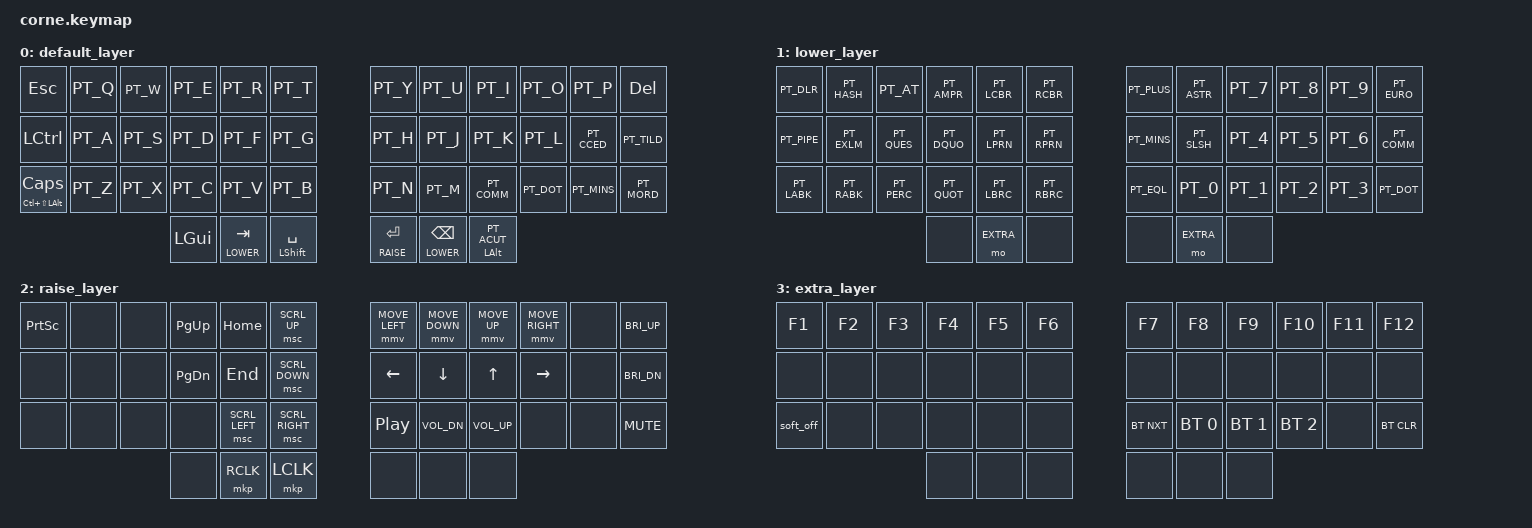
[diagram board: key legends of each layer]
#define ZMK_MOUSE_DEFAULT_MOVE_VAL 700
#define ZMK_MOUSE_DEFAULT_SCRL_VAL 13

#include <behaviors.dtsi>
#include <behaviors/mouse_keys.dtsi>
#include <dt-bindings/zmk/keys.h>
#include <dt-bindings/zmk/bt.h>
#include <dt-bindings/zmk/mouse.h>
#include "keymap_pt.h"

#define DEFAULT 0
#define LOWER   1
#define RAISE   2
#define EXTRA   3

#define xxx &none
#define ___ &trans

#define MEH LC(LS(LALT))

/ {
        keymap {
                compatible = "zmk,keymap";

                default_layer {
// ----------------------------------------------------------------------------------------------------------------------------------------------------------------------------------------------------------
// |    ESC     |       Q       |       W       |       E       |       R       |       T       |       |       Y       |       U       |       I       |       O       |       P       |      DEL      |
// |    CTRL    |       A       |       S       |       D       |       F       |       G       |       |       H       |       J       |       K       |       L       |       ;       |       '       |
// |    MEH     |       Z       |       X       |       C       |       V       |       B       |       |       N       |       M       |       ,       |       .       |       /       |       º       |
//
//                                              |      GUI      |      TAB      |      SPC      |       |      ENT      |      BSPC     |      ALT      |
                        bindings = <
   &kp ESC      &kp PT_Q        &kp PT_W        &kp PT_E        &kp PT_R        &kp PT_T                &kp PT_Y        &kp PT_U        &kp PT_I        &kp PT_O        &kp PT_P        &kp DEL
   &kp LCTRL    &kp PT_A        &kp PT_S        &kp PT_D        &kp PT_F        &kp PT_G                &kp PT_H        &kp PT_J        &kp PT_K        &kp PT_L        &kp PT_CCED     &kp PT_TILD
   &mt MEH CAPS &kp PT_Z        &kp PT_X        &kp PT_C        &kp PT_V        &kp PT_B                &kp PT_N        &kp PT_M        &kp PT_COMM     &kp PT_DOT      &kp PT_MINS     &kp PT_MORD
                                                &kp LGUI        &lt LOWER TAB   &mt LSHIFT SPACE        &lt RAISE ENTER &lt LOWER BSPC  &mt LALT PT_ACUT
                        >;
                };

                lower_layer {
// ----------------------------------------------------------------------------------------------------------------------------------------------------------------------------------------------------------
// |     $      |       #       |       @       |       &       |       {       |       }       |       |       +       |       *       |       7       |       8       |       9       |       €       |
// |     |      |       !       |       ?       |       "       |       (       |       )       |       |       -       |       /       |       4       |       5       |       6       |       ,       |
// |     <      |       >       |       %       |       '       |       [       |       ]       |       |       =       |       0       |       1       |       2       |       3       |       .       |
//
//                                              |               |               |               |       |               |               |               |
                        bindings = <
   &kp PT_DLR   &kp PT_HASH     &kp PT_AT       &kp PT_AMPR     &kp PT_LCBR     &kp PT_RCBR             &kp PT_PLUS     &kp PT_ASTR     &kp PT_7        &kp PT_8        &kp PT_9        &kp PT_EURO
   &kp PT_PIPE  &kp PT_EXLM     &kp PT_QUES     &kp PT_DQUO     &kp PT_LPRN     &kp PT_RPRN             &kp PT_MINS     &kp PT_SLSH     &kp PT_4        &kp PT_5        &kp PT_6        &kp PT_COMM
   &kp PT_LABK  &kp PT_RABK     &kp PT_PERC     &kp PT_QUOT     &kp PT_LBRC     &kp PT_RBRC             &kp PT_EQL      &kp PT_0        &kp PT_1        &kp PT_2        &kp PT_3        &kp PT_DOT
                                                xxx             &mo EXTRA       xxx                     xxx             &mo EXTRA       xxx
                        >;
                };

                raise_layer {
// ----------------------------------------------------------------------------------------------------------------------------------------------------------------------------------------------------------
// |  PRNT_SCR  |               |               |    PAGE_UP    |      HOME     |    SCRL_UP    |       |   MOUSE_LEFT  |   MOUSE_DOWN  |    MOUSE_UP   |   MOUSE_RIGHT |               | BRIGHTNESS_UP |
// |            |               |               |    PAGE_DOWN  |      END      |    SCRL_DOWN  |       |      LEFT     |      DOWN     |       UP      |      RIGHT    |               |BRIGHTNESS_DOWN|
// |            |               |               |               |    SCRL_LEFT  |    SCRL_RIGHT |       |      PLAY     |    VOL_DOWN   |     VOL_UP    |               |               |      MUTE     |
//
//                                              |               |    CLICK_R    |    CLICK_L    |       |               |               |               |
                        bindings = <
&kp PRINTSCREEN xxx             xxx             &kp PG_UP       &kp HOME        &msc SCRL_UP            &mmv MOVE_LEFT  &mmv MOVE_DOWN  &mmv MOVE_UP    &mmv MOVE_RIGHT xxx             &kp C_BRI_UP
   xxx          xxx             xxx             &kp PG_DN       &kp END         &msc SCRL_DOWN          &kp LEFT_ARROW  &kp DOWN_ARROW  &kp UP_ARROW    &kp RIGHT_ARROW xxx             &kp C_BRI_DN
   xxx          xxx             xxx             xxx             &msc SCRL_LEFT  &msc SCRL_RIGHT         &kp C_PP        &kp C_VOL_DN    &kp C_VOL_UP    xxx             xxx             &kp C_MUTE
                                                xxx             &mkp RCLK       &mkp LCLK               xxx             xxx             xxx
                        >;
                };

                extra_layer {
// ----------------------------------------------------------------------------------------------------------------------------------------------------------------------------------------------------------
// |     F1     |       F2      |       F3      |       F4      |       F5      |       F6      |       |       F7      |       F8      |       F9      |       F10     |       F11     |       F12     |
// |            |               |               |               |               |               |       |               |               |               |               |               |               |
// |  SOFT_OFF  |               |               |               |               |               |       |   BT_TOGGLE   |      BT_0     |      BT_1     |      BT_2     |               |    BT_CLEAR   |
//
//                                              |               |               |               |       |               |               |               |
                        bindings = <
   &kp F1       &kp F2          &kp F3          &kp F4          &kp F5          &kp F6                  &kp F7          &kp F8          &kp F9          &kp F10         &kp F11         &kp F12
   xxx          xxx             xxx             xxx             xxx             xxx                     xxx             xxx             xxx             xxx             xxx             xxx
   &soft_off    xxx             xxx             xxx             xxx             xxx                     &bt BT_NXT      &bt BT_SEL 0    &bt BT_SEL 1    &bt BT_SEL 2    xxx             &bt BT_CLR
                                                xxx             xxx             xxx                     xxx             xxx             xxx
                        >;
                };
        };
};
